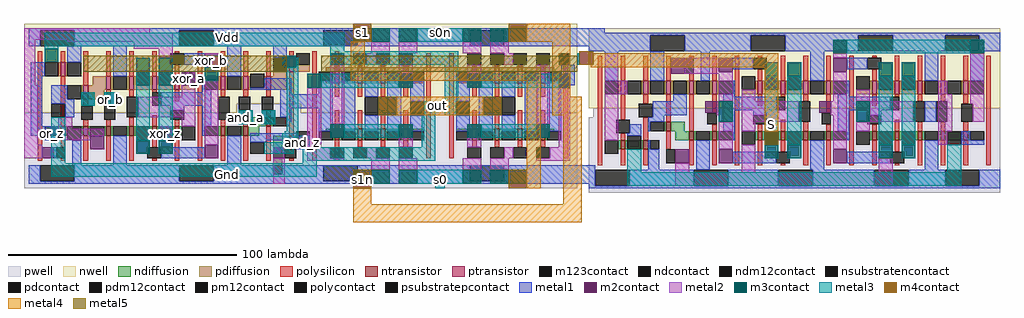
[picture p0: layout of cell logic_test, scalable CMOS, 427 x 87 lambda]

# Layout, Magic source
magic
tech scmos
<< metal1 >>
rect 80 62 86 69
rect 236 62 248 70
rect 3 21 9 27
rect 113 17 119 23
rect 81 4 86 8
rect 235 2 244 10
<< metal2 >>
rect 73 53 79 59
rect 63 45 69 51
rect 248 41 254 59
rect 53 21 59 27
<< metal3 >>
rect 174 65 177 70
rect 236 54 237 59
rect 19 36 25 42
rect 29 36 35 42
rect 88 28 94 34
rect 98 28 104 34
rect 174 0 178 6
<< m4contact >>
rect 138 64 146 72
rect 206 64 214 72
rect 237 54 243 60
rect 149 32 157 40
rect 195 32 203 40
rect 318 19 324 25
rect 138 0 146 8
rect 206 0 214 8
<< metal4 >>
rect 214 64 233 72
rect 137 53 143 64
rect 137 47 220 53
rect 157 32 195 40
rect 214 0 220 47
rect 225 40 233 64
rect 243 54 324 59
rect 242 53 324 54
rect 225 32 238 40
rect 138 -7 146 0
rect 230 -7 238 32
rect 318 25 324 53
rect 138 -15 238 -7
use logic  logic_0
transform 1 0 -91 0 1 0
box 87 2 327 70
use fadder  fadder_0
transform -1 0 397 0 1 -4
box -24 4 156 74
<< labels >>
rlabel metal1 83 66 83 66 1 Vdd
rlabel metal3 32 39 32 39 1 or_b
rlabel metal3 22 39 22 39 1 or_a
rlabel metal1 6 24 6 24 1 or_z
rlabel metal2 56 24 56 24 1 xor_z
rlabel metal2 66 48 66 48 1 xor_a
rlabel metal2 76 56 76 56 1 xor_b
rlabel metal1 83 6 83 6 1 Gnd
rlabel metal3 91 31 91 31 1 and_a
rlabel metal3 101 31 101 31 1 and_b
rlabel metal4 175 36 175 36 1 out
rlabel m4contact 142 4 142 4 1 s1n
rlabel metal3 176 4 176 4 1 s0
rlabel m4contact 142 68 142 68 5 s1
rlabel metal3 176 68 176 68 5 s0n
rlabel metal4 321 28 321 28 1 S
rlabel metal1 116 20 116 20 1 and_z
<< end >>

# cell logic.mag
magic
tech scmos
<< nwell >>
rect 85 37 327 72
rect 85 33 178 37
rect 206 33 327 37
<< pwell >>
rect 178 33 206 37
rect 85 0 327 33
<< ntransistor >>
rect 101 23 103 27
rect 111 23 113 27
rect 121 23 123 27
rect 131 23 133 27
rect 141 23 143 27
rect 151 23 153 27
rect 191 27 193 31
rect 171 23 173 27
rect 181 23 183 27
rect 201 19 203 23
<< ptransistor >>
rect 101 49 103 55
rect 111 39 113 45
rect 121 43 123 49
rect 131 43 133 49
rect 141 43 143 49
rect 151 43 153 49
rect 171 43 173 49
rect 181 43 183 49
rect 201 51 203 57
rect 191 43 193 49
<< ndiffusion >>
rect 100 23 101 27
rect 103 23 104 27
rect 110 23 111 27
rect 113 23 114 27
rect 120 23 121 27
rect 123 23 124 27
rect 130 23 131 27
rect 133 23 134 27
rect 140 23 141 27
rect 143 23 144 27
rect 150 23 151 27
rect 153 23 154 27
rect 184 27 191 31
rect 193 27 194 31
rect 170 23 171 27
rect 173 23 174 27
rect 180 23 181 27
rect 183 23 188 27
rect 194 19 201 23
rect 203 21 204 23
rect 203 19 210 21
rect 194 10 198 19
<< pdiffusion >>
rect 100 49 101 55
rect 103 49 104 55
rect 115 45 121 49
rect 110 39 111 45
rect 113 43 121 45
rect 123 43 124 49
rect 130 43 131 49
rect 133 45 134 49
rect 140 45 141 49
rect 133 43 141 45
rect 143 45 144 49
rect 150 45 151 49
rect 143 43 151 45
rect 153 45 154 49
rect 153 43 160 45
rect 113 39 120 43
rect 170 43 171 49
rect 173 43 174 49
rect 180 43 181 49
rect 183 44 184 49
rect 200 51 201 57
rect 203 54 204 57
rect 203 51 210 54
rect 194 49 200 51
rect 190 44 191 49
rect 183 43 191 44
rect 193 43 200 49
<< ndcontact >>
rect 94 23 100 27
rect 104 21 110 27
rect 114 23 120 27
rect 124 23 130 27
rect 194 27 200 31
rect 164 23 170 27
rect 174 23 180 27
rect 204 21 210 25
rect 194 6 198 10
<< pdcontact >>
rect 104 49 110 55
rect 104 39 110 45
rect 124 43 130 49
rect 164 43 170 49
rect 174 43 180 49
rect 194 51 200 57
<< psubstratepcontact >>
rect 92 3 107 10
rect 153 3 168 10
rect 216 3 231 10
rect 280 3 295 10
<< nsubstratencontact >>
rect 92 62 107 69
rect 153 62 168 69
rect 216 62 231 69
rect 280 62 295 69
<< polysilicon >>
rect 91 12 93 60
rect 101 55 103 60
rect 101 27 103 49
rect 111 45 113 60
rect 121 49 123 60
rect 131 49 133 60
rect 141 49 143 60
rect 151 59 153 60
rect 151 49 153 54
rect 111 36 113 39
rect 121 36 123 43
rect 131 40 133 43
rect 141 42 143 43
rect 151 38 153 43
rect 111 27 113 30
rect 121 27 123 30
rect 131 27 133 31
rect 141 27 143 32
rect 151 27 153 30
rect 101 18 103 23
rect 101 12 103 13
rect 111 12 113 23
rect 121 12 123 23
rect 131 12 133 23
rect 141 18 143 23
rect 141 12 143 13
rect 151 12 153 23
rect 161 12 163 60
rect 171 49 173 60
rect 181 49 183 60
rect 191 49 193 60
rect 201 57 203 60
rect 171 40 173 43
rect 181 40 183 43
rect 191 40 193 43
rect 171 27 173 30
rect 181 27 183 34
rect 191 31 193 34
rect 171 12 173 23
rect 181 12 183 23
rect 191 12 193 27
rect 201 23 203 51
rect 201 17 203 19
rect 201 12 203 13
rect 211 12 213 60
rect 221 40 223 60
rect 221 12 223 34
<< polycontact >>
rect 149 54 155 59
rect 141 36 145 42
rect 149 30 155 34
rect 99 13 103 18
rect 139 13 145 18
rect 199 13 204 17
<< metal1 >>
rect 87 69 219 70
rect 87 62 92 69
rect 107 62 153 69
rect 168 62 216 69
rect 104 55 110 62
rect 88 49 94 55
rect 124 49 130 62
rect 155 54 164 59
rect 88 27 93 49
rect 97 39 104 45
rect 174 49 180 62
rect 194 57 200 62
rect 163 43 164 49
rect 190 44 202 48
rect 184 43 202 44
rect 163 42 167 43
rect 97 37 107 39
rect 103 31 107 37
rect 145 36 167 42
rect 197 41 202 43
rect 149 34 155 36
rect 163 27 167 36
rect 197 35 220 41
rect 197 31 202 35
rect 200 29 202 31
rect 200 27 201 29
rect 88 23 94 27
rect 98 13 99 18
rect 106 10 110 21
rect 124 10 130 23
rect 163 23 164 27
rect 145 13 164 18
rect 174 10 180 23
rect 184 21 204 24
rect 184 20 191 21
rect 202 20 210 21
rect 87 3 92 10
rect 107 3 153 10
rect 168 6 194 10
rect 198 6 216 10
rect 168 3 216 6
rect 87 2 222 3
<< m2contact >>
rect 164 53 170 59
rect 93 13 98 18
rect 114 17 120 23
rect 164 13 170 19
rect 194 13 199 18
<< pm12contact >>
rect 110 30 115 36
rect 120 30 125 36
rect 130 31 135 40
rect 170 30 175 40
rect 179 34 184 40
rect 189 34 194 40
<< pdm12contact >>
rect 94 49 100 55
rect 134 45 140 51
rect 144 45 150 51
rect 154 45 160 51
rect 204 54 210 59
rect 184 44 190 50
<< ndm12contact >>
rect 134 21 140 27
rect 144 21 150 27
rect 154 21 160 27
<< metal2 >>
rect 85 68 140 70
rect 85 65 150 68
rect 85 45 90 65
rect 104 64 150 65
rect 133 61 150 64
rect 144 57 150 61
rect 85 19 91 45
rect 154 40 160 45
rect 100 26 106 31
rect 135 31 160 40
rect 154 27 160 31
rect 100 23 120 26
rect 100 22 114 23
rect 102 21 114 22
rect 85 13 93 19
rect 164 19 170 47
rect 194 2 199 13
<< m3contact >>
rect 94 55 100 61
rect 134 51 140 57
rect 144 51 150 57
rect 198 53 204 58
rect 110 36 116 42
rect 120 36 126 42
rect 134 15 140 21
rect 164 47 170 53
rect 144 15 150 21
rect 179 28 185 34
rect 189 28 195 34
<< m123contact >>
rect 97 31 103 37
rect 184 15 190 20
<< metal3 >>
rect 94 62 210 68
rect 232 67 234 69
rect 266 67 268 69
rect 300 67 302 69
rect 94 61 100 62
rect 97 11 103 31
rect 134 21 140 51
rect 204 53 205 57
rect 144 21 150 51
rect 200 25 205 53
rect 241 33 244 38
rect 289 35 294 38
rect 199 24 205 25
rect 198 22 205 24
rect 198 20 203 22
rect 190 15 203 20
rect 207 11 213 18
rect 97 5 213 11
rect 232 3 234 5
rect 266 3 268 5
rect 300 3 302 5
<< metal5 >>
rect 111 51 200 58
rect 215 51 327 58
use mux_4_to_1  mux_4_to_1_0
transform 1 0 221 0 1 64
box -14 -62 106 6
<< labels >>
rlabel m2contact 167 56 167 56 1 xor_b
rlabel pdm12contact 157 48 157 48 1 xor_a
rlabel metal3 147 24 147 24 1 xor_z
rlabel m3contact 113 39 113 39 1 or_a
rlabel m3contact 123 39 123 39 1 or_b
rlabel m3contact 182 31 182 31 1 nand_a
rlabel metal1 199 38 199 38 1 nand_z
rlabel pdm12contact 97 52 97 52 1 nxor_z
rlabel m123contact 100 34 100 34 1 or_z
rlabel metal3 267 4 267 4 1 s0
rlabel metal3 301 68 301 68 5 s1n
rlabel metal3 267 68 267 68 5 s0n
rlabel metal3 233 68 233 68 5 s1
rlabel metal3 291 36 291 36 1 out
rlabel m3contact 192 31 192 31 1 nand_b
rlabel metal1 160 69 160 69 5 Vdd
rlabel metal1 151 3 151 3 1 Gnd
<< end >>

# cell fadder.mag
magic
tech scmos
<< nwell >>
rect -24 39 156 74
<< pwell >>
rect -24 35 154 39
rect -24 2 156 35
<< ntransistor >>
rect -10 25 -8 29
rect 0 25 2 29
rect 10 25 12 29
rect 20 25 22 29
rect 30 25 32 29
rect 50 25 52 29
rect 60 25 62 29
rect 70 25 72 29
rect 80 25 82 29
rect 120 29 122 33
rect 100 25 102 29
rect 110 25 112 29
rect 130 21 132 25
rect 140 21 142 25
<< ptransistor >>
rect -10 45 -8 51
rect 0 45 2 51
rect 10 45 12 51
rect 20 45 22 51
rect 30 45 32 51
rect 50 45 52 51
rect 60 45 62 51
rect 70 45 72 51
rect 80 45 82 51
rect 100 45 102 51
rect 110 45 112 51
rect 120 45 122 51
rect 130 45 132 51
rect 140 45 142 51
<< ndiffusion >>
rect -11 25 -10 29
rect -8 25 0 29
rect 2 25 3 29
rect 9 25 10 29
rect 12 25 13 29
rect 19 25 20 29
rect 22 25 23 29
rect 29 25 30 29
rect 32 25 33 29
rect 49 25 50 29
rect 52 25 53 29
rect 59 25 60 29
rect 62 25 63 29
rect 69 25 70 29
rect 72 25 73 29
rect 79 25 80 29
rect 82 25 83 29
rect 114 29 120 33
rect 122 29 123 33
rect 99 25 100 29
rect 102 25 103 29
rect 109 25 110 29
rect 112 25 118 29
rect 129 21 130 25
rect 132 21 140 25
rect 142 21 143 25
<< pdiffusion >>
rect -11 45 -10 51
rect -8 45 -7 51
rect -1 45 0 51
rect 2 45 3 51
rect 9 45 10 51
rect 12 47 13 51
rect 19 47 20 51
rect 12 45 20 47
rect 22 47 23 51
rect 29 47 30 51
rect 22 45 30 47
rect 32 47 33 51
rect 32 45 39 47
rect 49 45 50 51
rect 52 45 53 51
rect 59 45 60 51
rect 62 47 63 51
rect 69 47 70 51
rect 62 45 70 47
rect 72 47 73 51
rect 79 47 80 51
rect 72 45 80 47
rect 82 47 83 51
rect 82 45 89 47
rect 99 45 100 51
rect 102 45 103 51
rect 109 45 110 51
rect 112 45 113 51
rect 119 45 120 51
rect 122 45 123 51
rect 129 45 130 51
rect 132 45 133 51
rect 139 45 140 51
rect 142 45 143 51
<< ndcontact >>
rect -17 25 -11 29
rect 3 25 9 29
rect 43 25 49 29
rect 53 25 59 29
rect 123 29 129 33
rect 93 25 99 29
rect 103 25 109 29
rect 125 21 129 25
<< pdcontact >>
rect -17 45 -11 51
rect 3 45 9 51
rect 43 45 49 51
rect 53 45 59 51
rect 93 45 99 51
rect 103 45 109 51
rect 113 45 119 51
rect 123 45 129 51
rect 143 45 149 51
<< psubstratepcontact >>
rect -15 5 0 12
rect 16 5 31 12
rect 58 5 73 12
rect 95 5 110 12
rect 138 5 153 12
<< nsubstratencontact >>
rect -15 64 0 71
rect 23 64 38 71
rect 70 64 85 71
rect 114 64 129 71
<< polysilicon >>
rect -20 14 -18 62
rect -10 51 -8 62
rect 0 51 2 62
rect 10 51 12 62
rect 20 51 22 62
rect 30 61 32 62
rect 30 51 32 56
rect -10 41 -8 45
rect 0 42 2 45
rect 10 42 12 45
rect 20 44 22 45
rect 30 40 32 45
rect -10 29 -8 33
rect 0 29 2 33
rect 10 29 12 33
rect 20 29 22 34
rect 30 29 32 32
rect -10 14 -8 25
rect 0 14 2 25
rect 10 14 12 25
rect 20 20 22 25
rect 20 14 22 15
rect 30 14 32 25
rect 40 14 42 62
rect 50 51 52 62
rect 60 51 62 62
rect 70 51 72 62
rect 80 61 82 62
rect 80 51 82 56
rect 50 37 52 45
rect 60 42 62 45
rect 70 44 72 45
rect 80 40 82 45
rect 50 29 52 32
rect 60 29 62 33
rect 70 29 72 34
rect 80 29 82 32
rect 50 14 52 25
rect 60 14 62 25
rect 70 20 72 25
rect 70 14 72 15
rect 80 14 82 25
rect 90 14 92 62
rect 100 51 102 62
rect 110 61 112 62
rect 110 51 112 54
rect 120 51 122 62
rect 130 51 132 62
rect 140 51 142 62
rect 100 37 102 45
rect 100 29 102 32
rect 110 29 112 45
rect 120 33 122 45
rect 130 41 132 45
rect 100 14 102 25
rect 110 14 112 25
rect 120 21 122 29
rect 130 25 132 35
rect 140 34 142 45
rect 140 25 142 28
rect 130 14 132 21
rect 140 14 142 21
rect 150 14 152 62
<< polycontact >>
rect 28 56 34 61
rect -1 33 4 42
rect 20 38 24 44
rect 28 32 34 36
rect 18 15 24 20
rect 78 56 84 61
rect 50 32 54 37
rect 70 38 74 44
rect 78 32 84 36
rect 68 15 74 20
rect 110 54 114 61
rect 100 32 104 37
rect 128 35 134 41
rect 138 28 144 34
rect 118 15 122 21
<< metal1 >>
rect -24 71 156 72
rect -24 64 -15 71
rect 0 64 23 71
rect 38 64 70 71
rect 85 64 114 71
rect 129 64 156 71
rect -17 51 -11 64
rect 3 51 9 64
rect 34 56 43 61
rect 53 51 59 64
rect 84 56 93 61
rect 42 45 43 51
rect 103 51 107 64
rect 123 51 129 64
rect 143 51 149 64
rect 92 45 93 51
rect 42 44 47 45
rect 92 44 97 45
rect 4 33 9 42
rect 24 38 47 44
rect 28 36 34 38
rect 42 29 47 38
rect 74 38 97 44
rect 113 42 119 45
rect 78 36 84 38
rect 92 29 97 38
rect 113 36 128 42
rect 123 35 128 36
rect 123 33 130 35
rect 129 29 130 33
rect -11 25 -7 29
rect -17 23 -7 25
rect 3 12 9 25
rect 42 25 43 29
rect 24 15 43 20
rect 53 12 59 25
rect 92 25 93 29
rect 133 28 138 32
rect 133 27 139 28
rect 74 15 93 20
rect 103 12 109 25
rect 129 21 130 25
rect 125 12 130 21
rect -24 5 -15 12
rect 0 5 16 12
rect 31 5 58 12
rect 73 5 95 12
rect 110 5 138 12
rect 153 5 156 12
rect -24 4 156 5
<< m2contact >>
rect 43 55 49 61
rect 93 55 99 61
rect 114 54 120 61
rect 50 37 55 42
rect 100 37 105 42
rect 43 15 49 21
rect 93 15 99 21
rect 112 15 118 21
<< pm12contact >>
rect -12 33 -7 41
rect 9 33 14 42
rect 59 33 64 42
<< pdm12contact >>
rect -7 45 -1 51
rect 13 47 19 53
rect 23 47 29 53
rect 33 47 39 53
rect 63 47 69 53
rect 73 47 79 53
rect 83 47 89 53
rect 133 45 139 51
<< ndm12contact >>
rect 13 23 19 29
rect 23 23 29 29
rect 33 23 39 29
rect 63 23 69 29
rect 73 23 79 29
rect 83 23 89 29
rect 143 19 149 25
<< metal2 >>
rect -17 41 -11 63
rect 43 61 49 63
rect -1 45 3 51
rect -17 33 -12 41
rect -3 29 3 45
rect 33 42 39 47
rect 14 33 33 42
rect 33 29 39 33
rect -1 23 3 29
rect 43 42 49 55
rect 99 55 114 61
rect 93 54 114 55
rect 83 42 89 47
rect 43 36 50 42
rect 23 11 29 17
rect 43 21 49 36
rect 64 33 89 42
rect 83 29 89 33
rect 83 11 89 23
rect 93 42 99 54
rect 139 45 149 51
rect 99 36 100 42
rect 93 21 99 33
rect 143 25 149 45
rect 112 11 118 15
rect 23 5 118 11
<< m3contact >>
rect -17 63 -11 69
rect 43 63 49 69
rect 13 53 19 59
rect 23 53 29 59
rect 33 33 39 42
rect 13 17 19 23
rect 63 53 69 59
rect 73 53 79 59
rect 23 17 29 23
rect 63 17 69 23
rect 73 17 79 23
rect 93 33 99 42
<< m123contact >>
rect -7 23 -1 29
rect 133 21 139 27
<< metal3 >>
rect -11 63 43 69
rect -7 11 -1 23
rect 13 23 19 53
rect 23 23 29 53
rect 63 23 69 53
rect 73 23 79 53
rect 133 11 139 21
rect -7 5 139 11
<< labels >>
rlabel metal1 3 68 3 68 4 Vdd
rlabel metal1 3 8 3 8 2 Gnd
rlabel metal1 53 68 53 68 4 Vdd
rlabel metal1 53 8 53 8 2 Gnd
rlabel metal2 146 38 146 38 1 cout
rlabel metal3 76 26 76 26 1 s
rlabel metal3 26 26 26 26 1 xor0_out
rlabel metal3 -4 20 -4 20 1 nand1_out
rlabel m3contact -14 66 -14 66 1 cin
rlabel m3contact 36 37 36 37 1 y
rlabel m3contact 96 37 96 37 1 x
<< end >>

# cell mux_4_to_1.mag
magic
tech scmos
<< ntransistor >>
rect 0 -43 2 -38
rect 10 -43 12 -38
rect 20 -43 22 -38
rect 30 -43 32 -38
rect 60 -43 62 -38
rect 70 -43 72 -38
rect 80 -43 82 -38
rect 90 -43 92 -38
<< ptransistor >>
rect 0 -18 2 -11
rect 10 -18 12 -11
rect 20 -18 22 -11
rect 30 -18 32 -11
rect 60 -18 62 -11
rect 70 -18 72 -11
rect 80 -18 82 -11
rect 90 -18 92 -11
<< ndiffusion >>
rect -4 -39 0 -38
rect -1 -43 0 -39
rect 2 -39 10 -38
rect 2 -43 3 -39
rect 9 -43 10 -39
rect 12 -39 20 -38
rect 12 -43 13 -39
rect 19 -43 20 -39
rect 22 -39 30 -38
rect 22 -43 23 -39
rect 29 -43 30 -39
rect 32 -39 39 -38
rect 32 -43 33 -39
rect 53 -39 60 -38
rect 59 -43 60 -39
rect 62 -39 70 -38
rect 62 -43 63 -39
rect 69 -43 70 -39
rect 72 -39 80 -38
rect 72 -43 73 -39
rect 79 -43 80 -39
rect 82 -39 90 -38
rect 82 -43 83 -39
rect 89 -43 90 -39
rect 92 -39 96 -38
rect 92 -43 93 -39
<< pdiffusion >>
rect -4 -13 0 -11
rect -1 -17 0 -13
rect -4 -18 0 -17
rect 2 -13 10 -11
rect 2 -17 3 -13
rect 9 -17 10 -13
rect 2 -18 10 -17
rect 12 -13 20 -11
rect 12 -17 13 -13
rect 19 -17 20 -13
rect 12 -18 20 -17
rect 22 -13 30 -11
rect 22 -17 23 -13
rect 29 -17 30 -13
rect 22 -18 30 -17
rect 32 -13 39 -11
rect 32 -17 33 -13
rect 32 -18 39 -17
rect 53 -13 60 -11
rect 59 -17 60 -13
rect 53 -18 60 -17
rect 62 -13 70 -11
rect 62 -17 63 -13
rect 69 -17 70 -13
rect 62 -18 70 -17
rect 72 -13 80 -11
rect 72 -17 73 -13
rect 79 -17 80 -13
rect 72 -18 80 -17
rect 82 -13 90 -11
rect 82 -17 83 -13
rect 89 -17 90 -13
rect 82 -18 90 -17
rect 92 -13 96 -11
rect 92 -17 93 -13
rect 92 -18 96 -17
<< ndcontact >>
rect -7 -43 -1 -39
rect 3 -43 9 -39
rect 13 -43 19 -39
rect 23 -43 29 -39
rect 33 -43 39 -39
rect 53 -43 59 -39
rect 63 -43 69 -39
rect 73 -43 79 -39
rect 83 -43 89 -39
rect 93 -43 99 -39
<< pdcontact >>
rect -7 -17 -1 -13
rect 3 -17 9 -13
rect 13 -17 19 -13
rect 23 -17 29 -13
rect 33 -17 39 -13
rect 53 -17 59 -13
rect 63 -17 69 -13
rect 73 -17 79 -13
rect 83 -17 89 -13
rect 93 -17 99 -13
<< polysilicon >>
rect -10 -51 -8 -5
rect 0 -11 2 -10
rect 10 -11 12 -10
rect 20 -11 22 -10
rect 30 -11 32 -10
rect 0 -24 2 -18
rect 10 -24 12 -18
rect 20 -24 22 -18
rect 30 -24 32 -18
rect 0 -38 2 -30
rect 10 -38 12 -30
rect 20 -38 22 -30
rect 30 -38 32 -30
rect 0 -46 2 -43
rect 10 -46 12 -43
rect 20 -46 22 -43
rect 30 -46 32 -43
rect 40 -51 42 -5
rect 50 -51 52 -5
rect 60 -11 62 -10
rect 70 -11 72 -10
rect 80 -11 82 -10
rect 90 -11 92 -10
rect 60 -24 62 -18
rect 70 -24 72 -18
rect 80 -24 82 -18
rect 90 -24 92 -18
rect 60 -38 62 -30
rect 70 -38 72 -30
rect 80 -38 82 -30
rect 90 -38 92 -30
rect 60 -46 62 -43
rect 70 -46 72 -43
rect 80 -46 82 -43
rect 90 -46 92 -43
rect 100 -51 102 -5
<< metal1 >>
rect -14 -2 106 6
rect -7 -39 -1 -17
rect 3 -39 9 -17
rect 13 -24 19 -17
rect 13 -39 19 -32
rect 23 -39 29 -17
rect 33 -26 39 -17
rect 33 -39 39 -32
rect 53 -26 59 -17
rect 53 -39 59 -32
rect 63 -39 69 -17
rect 73 -24 79 -17
rect 73 -39 79 -32
rect 83 -39 89 -17
rect 99 -17 105 -10
rect 93 -19 105 -17
rect 93 -39 99 -19
rect -14 -62 106 -54
<< pm12contact >>
rect -2 -10 4 -5
rect 8 -10 14 -5
rect 18 -10 24 -5
rect 28 -10 34 -5
rect 58 -10 64 -5
rect 68 -10 74 -5
rect 78 -10 84 -5
rect 88 -10 94 -5
rect -2 -51 4 -46
rect 8 -51 14 -46
rect 18 -51 24 -46
rect 28 -51 34 -46
rect 58 -51 64 -46
rect 68 -51 74 -46
rect 78 -51 84 -46
rect 88 -51 94 -46
<< metal2 >>
rect 16 -5 24 0
rect 14 -10 18 -5
rect 28 -5 36 0
rect 56 -5 64 0
rect -12 -46 -6 -20
rect -2 -36 4 -10
rect 28 -14 34 -10
rect 68 -5 76 0
rect 74 -10 78 -5
rect 58 -14 64 -10
rect 88 -36 94 -10
rect 28 -46 34 -42
rect -12 -51 -2 -46
rect 14 -51 18 -46
rect -12 -52 4 -51
rect 16 -56 24 -51
rect 58 -46 64 -42
rect 98 -46 103 -20
rect 28 -56 36 -51
rect 56 -56 64 -51
rect 74 -51 78 -46
rect 94 -51 103 -46
rect 68 -56 76 -51
rect 88 -52 103 -51
<< m3contact >>
rect 16 0 24 6
rect 28 0 36 6
rect 56 0 64 6
rect -12 -20 -6 -14
rect 28 -20 34 -14
rect 68 0 76 6
rect 58 -20 64 -14
rect -2 -42 4 -36
rect 28 -42 34 -36
rect 16 -62 24 -56
rect 58 -42 64 -36
rect 88 -42 94 -36
rect 98 -20 103 -14
rect 28 -62 36 -56
rect 56 -62 64 -56
rect 68 -62 76 -56
<< m123contact >>
rect 98 -10 103 -5
rect 13 -32 19 -24
rect 33 -32 39 -26
rect 53 -32 59 -26
rect 73 -32 79 -24
<< metal3 >>
rect -14 -2 4 4
rect 8 0 16 6
rect 36 0 56 6
rect 76 0 84 6
rect -2 -4 4 -2
rect -2 -10 54 -4
rect -6 -20 28 -14
rect 19 -32 27 -24
rect 48 -26 54 -10
rect 64 -20 98 -14
rect 39 -32 44 -26
rect 48 -32 53 -26
rect 65 -32 73 -24
rect 4 -42 28 -36
rect 38 -46 44 -32
rect 64 -42 88 -36
rect -14 -52 44 -46
rect 8 -62 16 -56
rect 36 -62 56 -56
rect 76 -62 84 -56
<< labels >>
rlabel metal3 70 -28 70 -28 1 out
rlabel metal3 12 4 12 4 5 s1
rlabel metal3 80 4 80 4 5 s1n
rlabel metal3 46 4 46 4 5 s0n
rlabel metal3 46 -60 46 -60 1 s0
rlabel metal1 -4 -29 -4 -29 1 in_00
rlabel metal3 -13 1 -13 1 4 in_11
rlabel metal3 -13 -49 -13 -49 3 in_01
rlabel metal1 104 -15 104 -15 7 in_10
<< end >>
